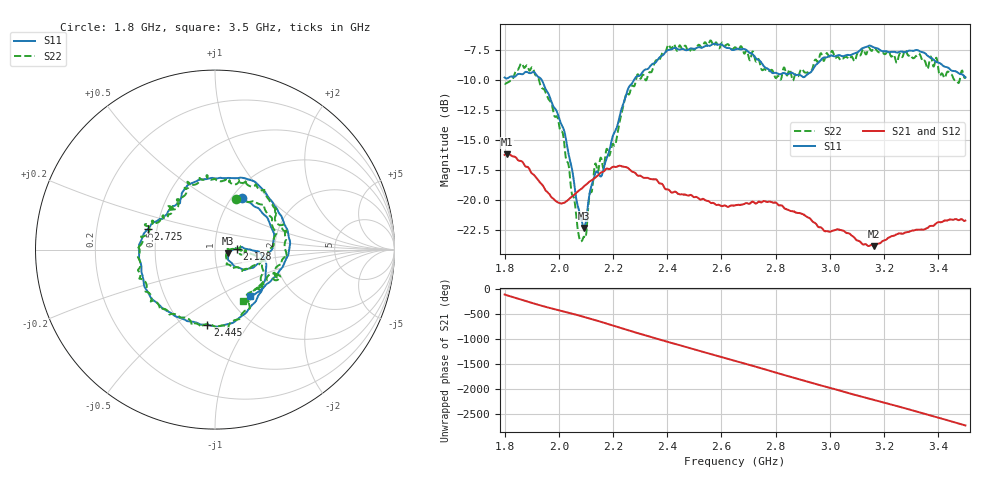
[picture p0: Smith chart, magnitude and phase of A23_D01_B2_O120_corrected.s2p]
! Created with skrf 1.9.0 (http://scikit-rf.org).
# Hz S RI R 50.0
!freq ReS11 ImS11 ReS21 ImS21 ReS12 ImS12 ReS22 ImS22
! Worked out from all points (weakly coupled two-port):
!   1601 points, 1.8 GHz to 3.5 GHz, reference 50 ohm
!   highest |S21| = -16.22 dB at 1.81 GHz (marker M1); lowest = -23.9 dB at 3.162 GHz (marker M2)
!   lowest |S11| = -22.4 dB at 2.093 GHz (marker M3), VSWR 1.17, Z = 57.9 - j2.44 ohm
!   |S11| at or under -10 dB: 1.937 GHz to 2.278 GHz (341.4 MHz wide, 16.2 % of centre)
!   |S22| runs from -23.5 to -6.7 dB; largest |S21 - S12| = 0.003
!   S11 on the Smith chart (normalised r, x): 1.8 GHz: 1.12, +0.71; 2.128 GHz: 1.28, +0.01; 2.445 GHz: 0.65, -0.67; 2.725 GHz: 0.45, +0.12; 3.5 GHz: 1.26, -0.72
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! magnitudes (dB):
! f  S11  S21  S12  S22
! 1.8 GHz  -9.8  -16.3  -16.3  -10.4
! 1.81 GHz  -9.9  -16.2  -16.2  -10.2
! 1.859 GHz  -9.5  -16.8  -16.9  -8.7
! 1.901 GHz  -9.4  -17.8  -17.7  -9.0
! 1.968 GHz  -11.5  -19.6  -19.7  -11.8
! 2.021 GHz  -14.4  -20.2  -20.2  -15.6
! 2.084 GHz  -21.7  -19.1  -19.0  -23.4
! 2.093 GHz  -22.4  -18.9  -18.9  -23.1
! 2.128 GHz  -18.2  -18.3  -18.3  -18.0
! 2.16 GHz  -17.9  -17.7  -17.6  -17.0
! 2.208 GHz  -14.3  -17.3  -17.2  -15.4
! 2.259 GHz  -10.6  -17.4  -17.4  -11.2
! 2.367 GHz  -8.3  -18.5  -18.5  -8.4
! 2.445 GHz  -7.5  -19.5  -19.5  -7.2
! 2.65 GHz  -7.5  -20.5  -20.4  -7.3
! 2.725 GHz  -8.2  -20.3  -20.3  -8.4
! 2.812 GHz  -9.5  -20.5  -20.4  -9.7
! 2.934 GHz  -9.3  -21.8  -21.7  -9.2
! 3.162 GHz  -7.3  -23.9  -23.8  -7.3
! 3.217 GHz  -7.7  -23.2  -23.1  -7.6
! 3.327 GHz  -7.6  -22.5  -22.5  -7.8
! 3.5 GHz  -9.8  -21.7  -21.7  -9.7
